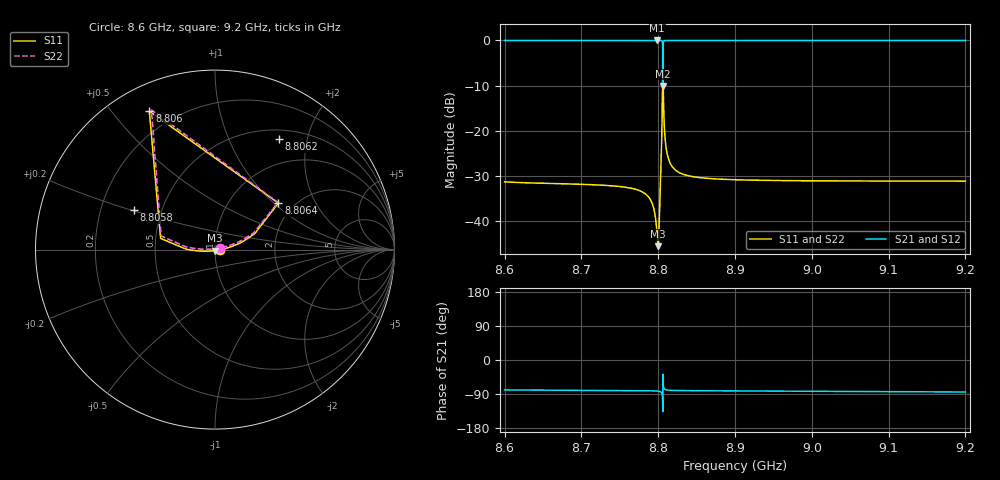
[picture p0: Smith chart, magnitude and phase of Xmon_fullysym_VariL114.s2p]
! Sonnet Data File
! From: emgraph Version : 16.52
! From Project: 171117_Xmon_fullysym
! Data is De-embedded
! Data File Written: 11/26/2017 21:44:47
!< HDATE 11/26/2017 17:24:49
!< MDATE 11/26/2017 17:24:49
!< PARAMS
!< Lj = 11.0
!< Gap = 1.0
!< Pwid = 2000.0
!< Airgap = 6.0
!< Width = 10.0
!< Lj1 = 11.4
!< END PARAMS
# GHZ S MA R 50.90000
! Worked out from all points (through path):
!   3001 points, 8.6 GHz to 9.2 GHz, reference 50.9 ohm
!   highest |S21| = 0.00 dB at 8.7986 GHz (marker M1); lowest = -10.1 dB at 8.806 GHz (marker M2)
!   lowest |S11| = -45.5 dB at 8.8 GHz (marker M3), VSWR 1.01, Z = 50.9 - j0.54 ohm
!   |S11| at or under -10 dB: start of sweep to 8.8056 GHz; 8.8066 GHz to end of sweep
!   |S22| runs from -45.2 to -1.4 dB; largest |S21 - S12| = 1.3e-10
!   S11 on the Smith chart (normalised r, x): 8.6 GHz: 1.06, +0.00; 8.8058 GHz: 0.35, +0.20; 8.806 GHz: 0.11, +0.63; 8.8062 GHz: 0.62, +1.55; 8.8064 GHz: 1.66, +1.07; 9.2 GHz: 1.06, -0.01
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8.6  0.02734 0.4  0.9996 -78.9  0.9996 -78.9  0.02734 21.8
!< P1 F=8.6 Eeff=(6.44845572 -2.9799e-5) Z0=(50.9087207 1.17006e-4) R=0.0 C=0.0
!< P2 F=8.6 Eeff=(6.44845572 -2.9799e-5) Z0=(50.9087207 1.17006e-4) R=0.0 C=0.0
8.7  0.02568 -1.5  0.9997 -79.9  0.9997 -79.9  0.02568 21.6
8.7804  0.02092 -5.5  0.9998 -81.0  0.9998 -81.0  0.02092 23.6
8.7918  0.01606 -10.5  0.9999 -81.4  0.9999 -81.4  0.01607 27.9
8.7986  0.007118 -40.2  0.9999 -82.0  0.9999 -82.0  0.007205 56.8
8.8  0.005318 -85.6  0.9999 -82.3  0.9999 -82.3  0.005489 100.9
8.8002  0.005448 -95.4  0.9999 -82.4  0.9999 -82.4  0.005627 110.2
8.8018  0.01283 -148.6  0.9997 -83.0  0.9997 -83.0  0.01297 161.2
8.804  0.05277 -169.9  0.9979 -85.4  0.9979 -85.4  0.05292 177.7
8.8058  0.5023 154.0  0.8268 -112.4  0.8268 -112.4  0.503 152.3
8.806  0.8537 115.4  0.3136 -136.4  0.3136 -136.4  0.8547 114.5
8.8062  0.7108 59.9  0.6184 -37.5  0.6184 -37.5  0.7116 59.7
8.8064  0.4379 36.3  0.8765 -56.4  0.8765 -56.4  0.4384 36.8
8.8082  0.1021 11.2  0.9941 -76.5  0.9941 -76.5  0.1022 16.5
8.8092  0.07831 8.7  0.9966 -77.9  0.9966 -77.9  0.07835 15.9
8.8104  0.06416 6.9  0.9978 -78.7  0.9978 -78.7  0.06419 15.9
8.813  0.05026 4.7  0.9987 -79.6  0.9987 -79.6  0.05027 16.3
8.8228  0.03668 1.5  0.9993 -80.4  0.9993 -80.4  0.03668 17.7
8.9002  0.02885 -2.2  0.9996 -81.6  0.9996 -81.6  0.02885 19.0
9.0002  0.02807 -3.7  0.9996 -82.6  0.9996 -82.6  0.02807 18.6
9.1  0.0279 -4.9  0.9996 -83.5  0.9996 -83.5  0.0279 17.9
9.2  0.02788 -6.1  0.9996 -84.4  0.9996 -84.4  0.02788 17.2
